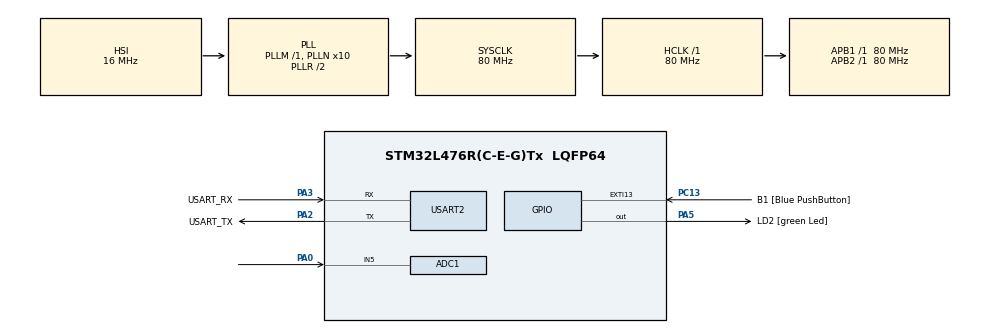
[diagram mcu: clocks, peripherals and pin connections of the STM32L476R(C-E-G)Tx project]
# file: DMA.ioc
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ADC1.Channel-0\#ChannelRegularConversion=ADC_CHANNEL_5
ADC1.DMAContinuousRequests=ENABLE
ADC1.NbrOfConversionFlag=1
ADC1.OffsetNumber-0\#ChannelRegularConversion=ADC_OFFSET_NONE
ADC1.Rank-0\#ChannelRegularConversion=1
ADC1.SamplingTime-0\#ChannelRegularConversion=ADC_SAMPLETIME_2CYCLES_5
ADC1.master=1
Dma.ADC1.0.Direction=DMA_PERIPH_TO_MEMORY
Dma.ADC1.0.Instance=DMA1_Channel1
Dma.ADC1.0.MemDataAlignment=DMA_MDATAALIGN_HALFWORD
Dma.ADC1.0.MemInc=DMA_MINC_ENABLE
Dma.ADC1.0.Mode=DMA_NORMAL
Dma.ADC1.0.PeriphDataAlignment=DMA_PDATAALIGN_HALFWORD
Dma.ADC1.0.PeriphInc=DMA_PINC_DISABLE
Dma.ADC1.0.Priority=DMA_PRIORITY_LOW
Dma.Request0=ADC1
Mcu.Family=STM32L4
Mcu.Name=STM32L476R(C-E-G)Tx
Mcu.Package=LQFP64
NVIC.ADC1_2_IRQn=true\:0\:0\:false\:false\:true\:true\:true\:true
NVIC.DMA1_Channel1_IRQn=true\:0\:0\:false\:false\:true\:false\:true\:true
NVIC.PriorityGroup=NVIC_PRIORITYGROUP_4
PA0.Signal=ADCx_IN5
PA13\ (JTMS-SWDIO).GPIO_Label=TMS
PA13\ (JTMS-SWDIO).Mode=Serial_Wire
PA13\ (JTMS-SWDIO).Signal=SYS_JTMS-SWDIO
PA14\ (JTCK-SWCLK).GPIO_Label=TCK
PA14\ (JTCK-SWCLK).Mode=Serial_Wire
PA14\ (JTCK-SWCLK).Signal=SYS_JTCK-SWCLK
PA2.GPIO_Label=USART_TX
PA2.GPIO_Mode=GPIO_MODE_AF_PP
PA2.GPIO_PuPd=GPIO_NOPULL
PA2.GPIO_Speed=GPIO_SPEED_FREQ_VERY_HIGH
PA2.Mode=Asynchronous
PA2.Signal=USART2_TX
PA3.GPIO_Label=USART_RX
PA3.GPIO_Mode=GPIO_MODE_AF_PP
PA3.GPIO_PuPd=GPIO_NOPULL
PA3.GPIO_Speed=GPIO_SPEED_FREQ_VERY_HIGH
PA3.Mode=Asynchronous
PA3.Signal=USART2_RX
PA5.GPIO_Label=LD2 [green Led]
PA5.GPIO_ModeDefaultOutputPP=GPIO_MODE_OUTPUT_PP
PA5.GPIO_PuPd=GPIO_NOPULL
PA5.GPIO_Speed=GPIO_SPEED_FREQ_LOW
PA5.Signal=GPIO_Output
PB3\ (JTDO-TRACESWO).GPIO_Label=SWO
PB3\ (JTDO-TRACESWO).Signal=SYS_JTDO-SWO
PC13.GPIO_Label=B1 [Blue PushButton]
PC13.GPIO_ModeDefaultEXTI=GPIO_MODE_IT_FALLING
PC13.GPIO_PuPd=GPIO_NOPULL
PC13.Signal=GPXTI13
PC14-OSC32_IN\ (PC14).Signal=RCC_OSC32_IN
PC15-OSC32_OUT\ (PC15).Signal=RCC_OSC32_OUT
PH0-OSC_IN\ (PH0).Mode=HSE-External-Oscillator
PH0-OSC_IN\ (PH0).Signal=RCC_OSC_IN
PH1-OSC_OUT\ (PH1).Mode=HSE-External-Oscillator
PH1-OSC_OUT\ (PH1).Signal=RCC_OSC_OUT
ProjectManager.HeapSize=0x200
ProjectManager.StackSize=0x400
ProjectManager.TargetToolchain=STM32CubeIDE
RCC.ADCFreq_Value=64000000
RCC.AHBFreq_Value=80000000
RCC.APB1Freq_Value=80000000
RCC.APB1TimFreq_Value=80000000
RCC.APB2Freq_Value=80000000
RCC.APB2TimFreq_Value=80000000
RCC.CortexFreq_Value=80000000
RCC.HCLKFreq_Value=80000000
RCC.HSE_VALUE=8000000
RCC.HSI_VALUE=16000000
RCC.MSI_VALUE=4000000
RCC.PLLN=10
RCC.PLLSourceVirtual=RCC_PLLSOURCE_HSI
RCC.PREFETCH_ENABLE=1
RCC.SYSCLKFreq_VALUE=80000000
RCC.SYSCLKSource=RCC_SYSCLKSOURCE_PLLCLK
RCC.USBFreq_Value=64000000
RCC.VCOOutputFreq_Value=160000000
SH.ADCx_IN5.0=ADC1_IN5,IN5-Single-Ended
USART2.VirtualMode-Asynchronous=VM_ASYNC
board=NUCLEO-L476RG

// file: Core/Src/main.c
/* USER CODE BEGIN Header */
/**
  ******************************************************************************
  * @file           : main.c
  * @brief          : Main program body
  ******************************************************************************
  * @attention
  *
  * Copyright (c) 2025 STMicroelectronics.
  * All rights reserved.
  *
  * This software is licensed under terms that can be found in the LICENSE file
  * in the root directory of this software component.
  * If no LICENSE file comes with this software, it is provided AS-IS.
  *
  ******************************************************************************
  */
/* USER CODE END Header */
#include "main.h"

ADC_HandleTypeDef hadc1;
DMA_HandleTypeDef hdma_adc1;

UART_HandleTypeDef huart2;

/* USER CODE BEGIN PV */
uint32_t adcVal=0;
/* USER CODE END PV */

void SystemClock_Config(void);
static void MX_GPIO_Init(void);
static void MX_DMA_Init(void);
static void MX_USART2_UART_Init(void);
static void MX_ADC1_Init(void);

/* USER CODE BEGIN 0 */
int __io_putchar(int ch)
{
	HAL_UART_Transmit(&huart2, (uint8_t*)&ch, 1, HAL_MAX_DELAY);
	return ch;
}
void DMA2_Stream0_IRQHandler(void)
{
	HAL_DMA_IRQHandler(&hdma_adc1);
}

void HAL_ADC_ConvCpltCallback(ADC_HandleTypeDef* hadc)
{

	adcVal = HAL_ADC_GetValue(&hadc1);
}
/* USER CODE END 0 */

int main(void)
{

  /* MCU Configuration--------------------------------------------------------*/

  /* Reset of all peripherals, Initializes the Flash interface and the Systick. */
  HAL_Init();

  /* Configure the system clock */
  SystemClock_Config();

  /* Initialize all configured peripherals */
  MX_GPIO_Init();
  MX_DMA_Init();
  MX_USART2_UART_Init();
  MX_ADC1_Init();
  /* USER CODE BEGIN 2 */
   HAL_ADC_Start_DMA(&hadc1, &adcVal, 1);
  /* USER CODE END 2 */

  /* Infinite loop */
  while (1)
  {

    /* USER CODE BEGIN 3 */
	  printf("ADC DMA Value %lu\r\n",adcVal);
	  HAL_Delay(1000);

  }
  /* USER CODE END 3 */
}

void SystemClock_Config(void)
{
  RCC_OscInitTypeDef RCC_OscInitStruct = {0};
  RCC_ClkInitTypeDef RCC_ClkInitStruct = {0};

  /** Configure the main internal regulator output voltage
  */
  if (HAL_PWREx_ControlVoltageScaling(PWR_REGULATOR_VOLTAGE_SCALE1) != HAL_OK)
  {
    Error_Handler();
  }

  /** Initializes the RCC Oscillators according to the specified parameters
  * in the RCC_OscInitTypeDef structure.
  */
  RCC_OscInitStruct.OscillatorType = RCC_OSCILLATORTYPE_HSI;
  RCC_OscInitStruct.HSIState = RCC_HSI_ON;
  RCC_OscInitStruct.HSICalibrationValue = RCC_HSICALIBRATION_DEFAULT;
  RCC_OscInitStruct.PLL.PLLState = RCC_PLL_ON;
  RCC_OscInitStruct.PLL.PLLSource = RCC_PLLSOURCE_HSI;
  RCC_OscInitStruct.PLL.PLLM = 1;
  RCC_OscInitStruct.PLL.PLLN = 10;
  RCC_OscInitStruct.PLL.PLLP = RCC_PLLP_DIV7;
  RCC_OscInitStruct.PLL.PLLQ = RCC_PLLQ_DIV2;
  RCC_OscInitStruct.PLL.PLLR = RCC_PLLR_DIV2;
  if (HAL_RCC_OscConfig(&RCC_OscInitStruct) != HAL_OK)
  {
    Error_Handler();
  }

  /** Initializes the CPU, AHB and APB buses clocks
  */
  RCC_ClkInitStruct.ClockType = RCC_CLOCKTYPE_HCLK|RCC_CLOCKTYPE_SYSCLK
                              |RCC_CLOCKTYPE_PCLK1|RCC_CLOCKTYPE_PCLK2;
  RCC_ClkInitStruct.SYSCLKSource = RCC_SYSCLKSOURCE_PLLCLK;
  RCC_ClkInitStruct.AHBCLKDivider = RCC_SYSCLK_DIV1;
  RCC_ClkInitStruct.APB1CLKDivider = RCC_HCLK_DIV1;
  RCC_ClkInitStruct.APB2CLKDivider = RCC_HCLK_DIV1;

  if (HAL_RCC_ClockConfig(&RCC_ClkInitStruct, FLASH_LATENCY_4) != HAL_OK)
  {
    Error_Handler();
  }
}

static void MX_ADC1_Init(void)
{

  ADC_MultiModeTypeDef multimode = {0};
  ADC_ChannelConfTypeDef sConfig = {0};

  /** Common config
  */
  hadc1.Instance = ADC1;
  hadc1.Init.ClockPrescaler = ADC_CLOCK_ASYNC_DIV1;
  hadc1.Init.Resolution = ADC_RESOLUTION_12B;
  hadc1.Init.DataAlign = ADC_DATAALIGN_RIGHT;
  hadc1.Init.ScanConvMode = ADC_SCAN_DISABLE;
  hadc1.Init.EOCSelection = ADC_EOC_SINGLE_CONV;
  hadc1.Init.LowPowerAutoWait = DISABLE;
  hadc1.Init.ContinuousConvMode = DISABLE;
  hadc1.Init.NbrOfConversion = 1;
  hadc1.Init.DiscontinuousConvMode = DISABLE;
  hadc1.Init.ExternalTrigConv = ADC_SOFTWARE_START;
  hadc1.Init.ExternalTrigConvEdge = ADC_EXTERNALTRIGCONVEDGE_NONE;
  hadc1.Init.DMAContinuousRequests = ENABLE;
  hadc1.Init.Overrun = ADC_OVR_DATA_PRESERVED;
  hadc1.Init.OversamplingMode = DISABLE;
  if (HAL_ADC_Init(&hadc1) != HAL_OK)
  {
    Error_Handler();
  }

  /** Configure the ADC multi-mode
  */
  multimode.Mode = ADC_MODE_INDEPENDENT;
  if (HAL_ADCEx_MultiModeConfigChannel(&hadc1, &multimode) != HAL_OK)
  {
    Error_Handler();
  }

  /** Configure Regular Channel
  */
  sConfig.Channel = ADC_CHANNEL_5;
  sConfig.Rank = ADC_REGULAR_RANK_1;
  sConfig.SamplingTime = ADC_SAMPLETIME_2CYCLES_5;
  sConfig.SingleDiff = ADC_SINGLE_ENDED;
  sConfig.OffsetNumber = ADC_OFFSET_NONE;
  sConfig.Offset = 0;
  if (HAL_ADC_ConfigChannel(&hadc1, &sConfig) != HAL_OK)
  {
    Error_Handler();
  }
  /* USER CODE BEGIN ADC1_Init 2 */
  NVIC_SetPriority(ADC1_IRQn,0);
  NVIC_EnableIRQ(ADC1_IRQn);
  __HAL_RCC_DMA2_CLK_ENABLE();
  HAL_DMA_Init(&hdma_adc1);
   hadc1.DMA_Handle=&hdma_adc1;
  /* USER CODE END ADC1_Init 2 */

}

static void MX_USART2_UART_Init(void)
{

  huart2.Instance = USART2;
  huart2.Init.BaudRate = 115200;
  huart2.Init.WordLength = UART_WORDLENGTH_8B;
  huart2.Init.StopBits = UART_STOPBITS_1;
  huart2.Init.Parity = UART_PARITY_NONE;
  huart2.Init.Mode = UART_MODE_TX_RX;
  huart2.Init.HwFlowCtl = UART_HWCONTROL_NONE;
  huart2.Init.OverSampling = UART_OVERSAMPLING_16;
  huart2.Init.OneBitSampling = UART_ONE_BIT_SAMPLE_DISABLE;
  huart2.AdvancedInit.AdvFeatureInit = UART_ADVFEATURE_NO_INIT;
  if (HAL_UART_Init(&huart2) != HAL_OK)
  {
    Error_Handler();
  }

}

static void MX_DMA_Init(void)
{

  /* DMA controller clock enable */
  __HAL_RCC_DMA1_CLK_ENABLE();

  /* DMA interrupt init */
  /* DMA1_Channel1_IRQn interrupt configuration */
  HAL_NVIC_SetPriority(DMA1_Channel1_IRQn, 0, 0);
  HAL_NVIC_EnableIRQ(DMA1_Channel1_IRQn);

}

static void MX_GPIO_Init(void)
{
  GPIO_InitTypeDef GPIO_InitStruct = {0};

  /* GPIO Ports Clock Enable */
  __HAL_RCC_GPIOC_CLK_ENABLE();
  __HAL_RCC_GPIOH_CLK_ENABLE();
  __HAL_RCC_GPIOA_CLK_ENABLE();
  __HAL_RCC_GPIOB_CLK_ENABLE();

  /*Configure GPIO pin Output Level */
  HAL_GPIO_WritePin(LD2_GPIO_Port, LD2_Pin, GPIO_PIN_RESET);

  /*Configure GPIO pin : B1_Pin */
  GPIO_InitStruct.Pin = B1_Pin;
  GPIO_InitStruct.Mode = GPIO_MODE_IT_FALLING;
  GPIO_InitStruct.Pull = GPIO_NOPULL;
  HAL_GPIO_Init(B1_GPIO_Port, &GPIO_InitStruct);

  /*Configure GPIO pin : LD2_Pin */
  GPIO_InitStruct.Pin = LD2_Pin;
  GPIO_InitStruct.Mode = GPIO_MODE_OUTPUT_PP;
  GPIO_InitStruct.Pull = GPIO_NOPULL;
  GPIO_InitStruct.Speed = GPIO_SPEED_FREQ_LOW;
  HAL_GPIO_Init(LD2_GPIO_Port, &GPIO_InitStruct);

}

void Error_Handler(void)
{
  __disable_irq();
  while (1)
  {
  }
}
